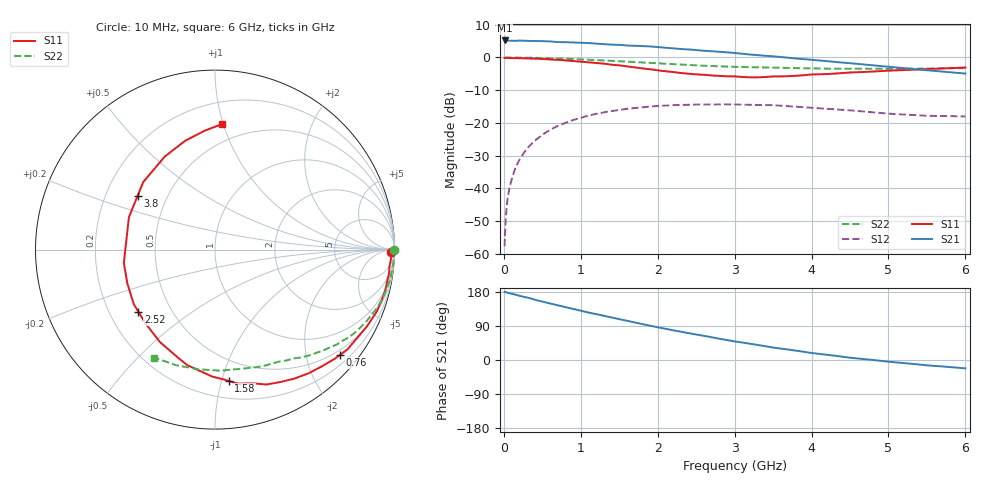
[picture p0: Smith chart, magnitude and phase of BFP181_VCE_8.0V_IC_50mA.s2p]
! Infineon Technologies  Discrete & RF Semiconductors
! BFP181
! VCE = 8.0 V,  IC =  50 mA
! Common Emitter S-Parameters:  Jan 2016
# GHz  S  MA  R  50
!  f  S11  S21  S12  S22
! GHz  MAG  ANG  MAG  ANG  MAG  ANG  MAG  ANG
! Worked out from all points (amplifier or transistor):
!   210 points, 10 MHz to 6 GHz, reference 50 ohm
!   highest |S21| = 5.2 dB at 10 MHz (marker M1)
!   |S21| within 3 dB of that: start of sweep to 2.527 GHz
!   unconditionally stable (mu >= 1): 3.733 GHz to end of sweep
!   at 185 MHz: K = 0.06, MSG = 18.6 dB, |S12| = -32.1 dB
!   at 1.52 GHz: K = 0.44, MSG = 9.9 dB, |S12| = -16.0 dB
!   at 6 GHz: K = 1.42, MAG = 2.7 dB, |S12| = -18.0 dB
!   S11 on the Smith chart (normalised r, x): 10 MHz: 75, -50; 760 MHz: 0.39, -2.69; 1.58 GHz: 0.33, -1.05; 2.52 GHz: 0.32, -0.32; 3.8 GHz: 0.34, +0.28; 6 GHz: 0.36, +0.99
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0.01  0.9817 -0.7  1.82 179.7  0.0013 86.6  0.9989 -0.1
0.015  0.9831 -0.9  1.812 179.7  0.002 88.6  0.9987 -0.3
0.025  0.9844 -1.3  1.806 179.2  0.0034 88.7  0.9984 -0.6
0.05  0.9835 -2.3  1.811 177.5  0.0072 87.3  0.9972 -1.3
0.11  0.9767 -5.9  1.798 174.4  0.0147 85.1  0.9967 -2.9
0.17  0.9771 -9.0  1.799 171.3  0.0229 83.1  0.9956 -4.4
0.28  0.973 -14.9  1.796 166.0  0.0374 79.6  0.9923 -7.3
0.4  0.9647 -21.0  1.788 159.3  0.0529 75.0  0.988 -10.3
0.76  0.9109 -40.1  1.715 141.5  0.0958 61.3  0.9608 -19.3
1.02  0.8595 -54.0  1.668 129.1  0.1214 52.1  0.9326 -25.4
1.3  0.8046 -69.1  1.603 116.6  0.145 42.8  0.9012 -31.6
1.58  0.7356 -84.0  1.532 104.5  0.1629 34.8  0.8668 -36.9
1.8  0.6806 -97.2  1.498 94.5  0.1734 28.8  0.8371 -40.9
2.02  0.6316 -110.0  1.437 85.5  0.1819 23.0  0.8116 -44.7
2.52  0.5497 -140.9  1.291 66.7  0.1905 11.2  0.756 -53.0
2.8  0.5235 -158.9  1.225 56.2  0.1923 5.2  0.7346 -57.3
3.1  0.5028 -177.3  1.139 46.2  0.1898 -0.7  0.7136 -62.0
3.5  0.5126 159.3  1.042 32.8  0.1862 -7.5  0.7011 -68.3
3.8  0.5247 145.3  0.964 24.6  0.1767 -11.2  0.6865 -73.7
4.1  0.5524 132.9  0.9 16.2  0.1676 -14.7  0.6776 -79.4
5.1  0.6343 103.2  0.704 -6.2  0.1362 -18.9  0.6724 -99.9
6  0.7023 86.6  0.567 -22.0  0.1255 -12.4  0.6899 -119.3
